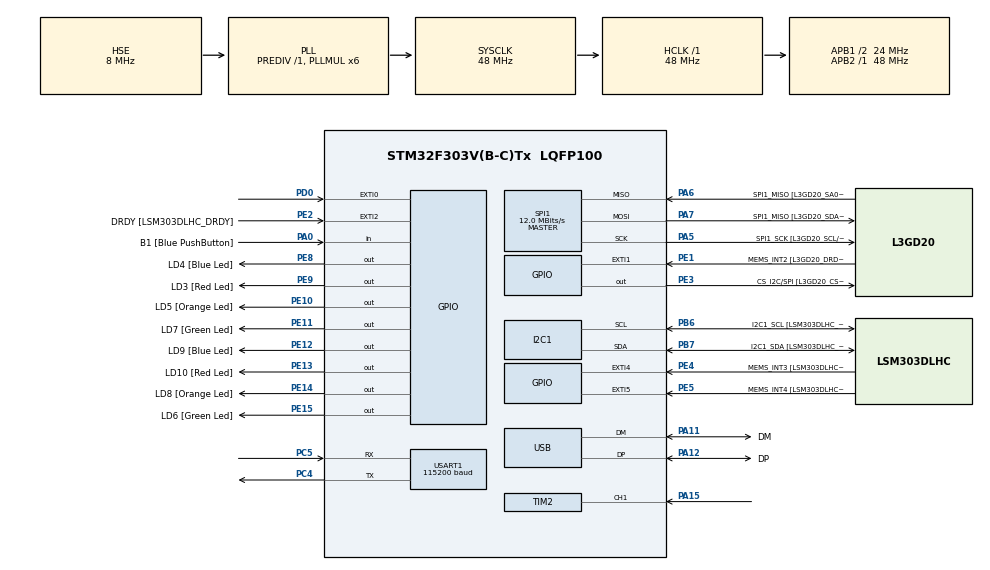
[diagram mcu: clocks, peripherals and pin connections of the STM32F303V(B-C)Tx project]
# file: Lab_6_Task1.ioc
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I2C1.Timing=0x00201D2B
I2C1.Timing-I2C=0x2000090E
Mcu.Family=STM32F3
Mcu.Name=STM32F303V(B-C)Tx
Mcu.Package=LQFP100
NVIC.PriorityGroup=NVIC_PRIORITYGROUP_0
NVIC.TIM2_IRQn=true\:0\:0\:false\:false\:true\:true\:true\:true
NVIC.USB_LP_CAN_RX0_IRQn=true\:0\:0\:false\:false\:true\:false\:true\:true
PA0.GPIO_Label=B1 [Blue PushButton]
PA0.Signal=GPIO_Input
PA11.GPIO_Label=DM
PA11.Mode=Device
PA11.Signal=USB_DM
PA12.GPIO_Label=DP
PA12.Mode=Device
PA12.Signal=USB_DP
PA13.GPIO_Label=SWDIO
PA13.Mode=Serial_Wire
PA13.Signal=SYS_JTMS-SWDIO
PA14.GPIO_Label=SWCLK
PA14.Mode=Serial_Wire
PA14.Signal=SYS_JTCK-SWCLK
PA15.Signal=S_TIM2_CH1_ETR
PA5.GPIO_Label=SPI1_SCK [L3GD20_SCL/SPC]
PA5.Mode=Full_Duplex_Master
PA5.Signal=SPI1_SCK
PA6.GPIO_Label=SPI1_MISO [L3GD20_SA0/SDO]
PA6.Mode=Full_Duplex_Master
PA6.Signal=SPI1_MISO
PA7.GPIO_Label=SPI1_MISO [L3GD20_SDA/SDI/SDO]
PA7.Mode=Full_Duplex_Master
PA7.Signal=SPI1_MOSI
PB3.GPIO_Label=SWO
PB3.Signal=SYS_JTDO-TRACESWO
PB6.GPIO_Label=I2C1_SCL [LSM303DLHC_SCL]
PB6.GPIO_Pu=GPIO_PULLUP
PB6.Mode=I2C
PB6.Signal=I2C1_SCL
PB7.GPIO_Label=I2C1_SDA [LSM303DLHC_SDA]
PB7.GPIO_Pu=GPIO_PULLUP
PB7.Mode=I2C
PB7.Signal=I2C1_SDA
PC14-OSC32_IN.GPIO_Label=OSC32_IN
PC14-OSC32_IN.Signal=RCC_OSC32_IN
PC15-OSC32_OUT.GPIO_Label=OSC32_OUT
PC15-OSC32_OUT.Signal=RCC_OSC32_OUT
PC4.Mode=Asynchronous
PC4.Signal=USART1_TX
PC5.Mode=Asynchronous
PC5.Signal=USART1_RX
PD0.Signal=GPXTI0
PE1.GPIO_Label=MEMS_INT2 [L3GD20_DRDY/INT2]
PE1.GPIO_ModeDefaultEXTI=GPIO_MODE_EVT_RISING
PE1.Signal=GPXTI1
PE10.GPIO_Label=LD5 [Orange Led]
PE10.Signal=GPIO_Output
PE11.GPIO_Label=LD7 [Green Led]
PE11.Signal=GPIO_Output
PE12.GPIO_Label=LD9 [Blue Led]
PE12.Signal=GPIO_Output
PE13.GPIO_Label=LD10 [Red Led]
PE13.Signal=GPIO_Output
PE14.GPIO_Label=LD8 [Orange Led]
PE14.Signal=GPIO_Output
PE15.GPIO_Label=LD6 [Green Led]
PE15.Signal=GPIO_Output
PE2.GPIO_Label=DRDY [LSM303DLHC_DRDY]
PE2.GPIO_ModeDefaultEXTI=GPIO_MODE_EVT_RISING
PE2.Signal=GPXTI2
PE3.GPIO_Label=CS_I2C/SPI [L3GD20_CS_I2C/SPI]
PE3.Signal=GPIO_Output
PE4.GPIO_Label=MEMS_INT3 [LSM303DLHC_INT1]
PE4.GPIO_ModeDefaultEXTI=GPIO_MODE_EVT_RISING
PE4.Signal=GPXTI4
PE5.GPIO_Label=MEMS_INT4 [LSM303DLHC_INT2]
PE5.GPIO_ModeDefaultEXTI=GPIO_MODE_EVT_RISING
PE5.Signal=GPXTI5
PE8.GPIO_Label=LD4 [Blue Led]
PE8.Signal=GPIO_Output
PE9.GPIO_Label=LD3 [Red Led]
PE9.Signal=GPIO_Output
PF0-OSC_IN.GPIO_Label=OSC_IN
PF0-OSC_IN.Mode=HSE-External-Clock-Source
PF0-OSC_IN.Signal=RCC_OSC_IN
PF1-OSC_OUT.GPIO_Label=OSC_OUT
PF1-OSC_OUT.Signal=RCC_OSC_OUT
ProjectManager.HeapSize=0x200
ProjectManager.StackSize=0x400
ProjectManager.TargetToolchain=CMake
RCC.AHBFreq_Value=48000000
RCC.APB1CLKDivider=RCC_HCLK_DIV2
RCC.APB1Freq_Value=24000000
RCC.APB1TimFreq_Value=48000000
RCC.APB2Freq_Value=48000000
RCC.APB2TimFreq_Value=48000000
RCC.CortexFreq_Value=48000000
RCC.HCLKFreq_Value=48000000
RCC.HSE_VALUE=8000000
RCC.HSI_VALUE=8000000
RCC.LSE_VALUE=32768
RCC.PLLMUL=RCC_PLL_MUL6
RCC.SYSCLKFreq_VALUE=48000000
RCC.SYSCLKSourceVirtual=RCC_SYSCLKSOURCE_PLLCLK
RCC.USBFreq_Value=48000000
SH.S_TIM2_CH1_ETR.0=TIM2_CH1,Input_Capture1_from_TI1
SPI1.BaudRatePrescaler=SPI_BAUDRATEPRESCALER_4
SPI1.BaudRatePrescaler-Full_Duplex_Master=SPI_BAUDRATEPRESCALER_2
SPI1.CalculateBaudRate=12.0 MBits/s
SPI1.CalculateBaudRate-Full_Duplex_Master=24.0 MBits/s
SPI1.Direction=SPI_DIRECTION_2LINES
SPI1.Mode=SPI_MODE_MASTER
SPI1.Mode-Full_Duplex_Master=SPI_MODE_MASTER
SPI1.VirtualType=VM_MASTER
TIM2.Channel-Input_Capture1_from_TI1=TIM_CHANNEL_1
TIM2.Prescaler=9
USART1.BaudRate=115200
USART1.VirtualMode-Asynchronous=VM_ASYNC
USB_DEVICE.CLASS_NAME_FS=CDC
USB_DEVICE.VirtualMode=Cdc
USB_DEVICE.VirtualModeFS=Cdc_FS
VP_TIM2_VS_ClockSourceINT.Mode=Internal
VP_USB_DEVICE_VS_USB_DEVICE_CDC_FS.Mode=CDC_FS
board=STM32F3DISCOVERY

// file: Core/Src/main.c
/* USER CODE BEGIN Header */
/**
  ******************************************************************************
  * @file           : main.c
  * @brief          : Main program body for Lab 6 Task 1 (GPIO EXTI)
  ******************************************************************************
  */
/* USER CODE END Header */
#include "main.h"
#include "usb_device.h"

/* USER CODE BEGIN Includes */
#include <stdio.h> // Required for sprintf
/* USER CODE END Includes */

I2C_HandleTypeDef hi2c1;
SPI_HandleTypeDef hspi1;
TIM_HandleTypeDef htim2;
UART_HandleTypeDef huart1;

/* USER CODE BEGIN PV */
// Variables for Lab 6 Task 1 (GPIO Polling/EXTI)
#define NUM_SAMPLES 10

uint32_t period_array[NUM_SAMPLES];
uint8_t sample_index = 0;
uint8_t is_first_edge = 1;

// 'volatile' tells the compiler this variable can change unexpectedly inside an interrupt
volatile uint8_t print_flag = 0;
/* USER CODE END PV */

void SystemClock_Config(void);
static void MX_GPIO_Init(void);
static void MX_I2C1_Init(void);
static void MX_SPI1_Init(void);
static void MX_TIM2_Init(void);
static void MX_USART1_UART_Init(void);

/* USER CODE BEGIN 0 */

// EXTI Callback for PD0
void HAL_GPIO_EXTI_Callback(uint16_t GPIO_Pin)
{
    // Check if the interrupt came from PD0
    if (GPIO_Pin == GPIO_PIN_0)
    {
        // Only collect new samples if we aren't currently busy printing the old ones
        if (print_flag == 0)
        {
            if (is_first_edge == 1)
            {
                // 1. First Interrupt (Rising Edge 1): Reset counter to 0 and start timer
                __HAL_TIM_SET_COUNTER(&htim2, 0);
                HAL_TIM_Base_Start(&htim2);

                is_first_edge = 0;
            }
            else
            {
                // 2. Second Interrupt (Rising Edge 2): Stop timer, read value, and save it
                HAL_TIM_Base_Stop(&htim2);
                period_array[sample_index] = __HAL_TIM_GET_COUNTER(&htim2);

                sample_index++;
                is_first_edge = 1; // Reset to catch the next 'first' edge

                // 3. Check if our array is full (e.g., we collected 10 samples)
                if (sample_index >= NUM_SAMPLES)
                {
                    print_flag = 1; // Tell the main loop to do the math and print
                    sample_index = 0;
                }
            }
        }
    }
}
/* USER CODE END 0 */

int main(void)
{
  /* MCU Configuration--------------------------------------------------------*/
  /* Reset of all peripherals, Initializes the Flash interface and the Systick. */
  HAL_Init();

  /* Configure the system clock */
  SystemClock_Config();

  /* Initialize all configured peripherals */
  MX_GPIO_Init();
  MX_I2C1_Init();
  MX_SPI1_Init();
  MX_TIM2_Init();
  MX_USART1_UART_Init();

  /* USER CODE BEGIN 2 */

  char msg[100];

  /* USER CODE END 2 */

  /* Infinite loop */
  while (1)
  {
    /* USER CODE BEGIN 3 */

    // Check if the EXTI interrupt collected all 10 samples
    if (print_flag == 1)
    {
        // 1. Calculate the Average Period
        uint32_t sum = 0;
        for (int i = 0; i < NUM_SAMPLES; i++)
        {
            sum += period_array[i];
        }
        uint32_t average_period = sum / NUM_SAMPLES;

        // 2. Calculate the Frequency
        // Since our prescaler is 71, the timer ticks at 1 MHz (1,000,000 Hz).
        // Frequency = Timer Ticks per Second / Average Period Ticks
        uint32_t frequency = 0;
        if (average_period > 0)
        {
            frequency = 1000000 / average_period;
        }

        // 3. Print the results
        int len = sprintf(msg, "Avg Period: %lu us | Freq: %lu Hz\r\n", average_period, frequency);
        HAL_UART_Transmit(&huart1, (uint8_t*)msg, len, HAL_MAX_DELAY);

        // 4. Reset the flag so the EXTI interrupt can fill the array again
        print_flag = 0;
    }

    // Check every 100ms as requested by the manual
    HAL_Delay(100);

    /* USER CODE END 3 */
  }
}

void SystemClock_Config(void)
{
  RCC_OscInitTypeDef RCC_OscInitStruct = {0};
  RCC_ClkInitTypeDef RCC_ClkInitStruct = {0};
  RCC_PeriphCLKInitTypeDef PeriphClkInit = {0};

  RCC_OscInitStruct.OscillatorType = RCC_OSCILLATORTYPE_HSI|RCC_OSCILLATORTYPE_HSE;
  RCC_OscInitStruct.HSEState = RCC_HSE_BYPASS;
  RCC_OscInitStruct.HSEPredivValue = RCC_HSE_PREDIV_DIV1;
  RCC_OscInitStruct.HSIState = RCC_HSI_ON;
  RCC_OscInitStruct.HSICalibrationValue = RCC_HSICALIBRATION_DEFAULT;
  RCC_OscInitStruct.PLL.PLLState = RCC_PLL_ON;
  RCC_OscInitStruct.PLL.PLLSource = RCC_PLLSOURCE_HSE;
  RCC_OscInitStruct.PLL.PLLMUL = RCC_PLL_MUL6;
  if (HAL_RCC_OscConfig(&RCC_OscInitStruct) != HAL_OK)
  {
    Error_Handler();
  }

  RCC_ClkInitStruct.ClockType = RCC_CLOCKTYPE_HCLK|RCC_CLOCKTYPE_SYSCLK
                              |RCC_CLOCKTYPE_PCLK1|RCC_CLOCKTYPE_PCLK2;
  RCC_ClkInitStruct.SYSCLKSource = RCC_SYSCLKSOURCE_PLLCLK;
  RCC_ClkInitStruct.AHBCLKDivider = RCC_SYSCLK_DIV1;
  RCC_ClkInitStruct.APB1CLKDivider = RCC_HCLK_DIV2;
  RCC_ClkInitStruct.APB2CLKDivider = RCC_HCLK_DIV1;

  if (HAL_RCC_ClockConfig(&RCC_ClkInitStruct, FLASH_LATENCY_1) != HAL_OK)
  {
    Error_Handler();
  }
  PeriphClkInit.PeriphClockSelection = RCC_PERIPHCLK_USB|RCC_PERIPHCLK_USART1
                              |RCC_PERIPHCLK_I2C1;
  PeriphClkInit.Usart1ClockSelection = RCC_USART1CLKSOURCE_PCLK2;
  PeriphClkInit.I2c1ClockSelection = RCC_I2C1CLKSOURCE_HSI;
  PeriphClkInit.USBClockSelection = RCC_USBCLKSOURCE_PLL;
  if (HAL_RCCEx_PeriphCLKConfig(&PeriphClkInit) != HAL_OK)
  {
    Error_Handler();
  }
}

static void MX_I2C1_Init(void)
{
  hi2c1.Instance = I2C1;
  hi2c1.Init.Timing = 0x00201D2B;
  hi2c1.Init.OwnAddress1 = 0;
  hi2c1.Init.AddressingMode = I2C_ADDRESSINGMODE_7BIT;
  hi2c1.Init.DualAddressMode = I2C_DUALADDRESS_DISABLE;
  hi2c1.Init.OwnAddress2 = 0;
  hi2c1.Init.OwnAddress2Masks = I2C_OA2_NOMASK;
  hi2c1.Init.GeneralCallMode = I2C_GENERALCALL_DISABLE;
  hi2c1.Init.NoStretchMode = I2C_NOSTRETCH_DISABLE;
  if (HAL_I2C_Init(&hi2c1) != HAL_OK)
  {
    Error_Handler();
  }
  if (HAL_I2CEx_ConfigAnalogFilter(&hi2c1, I2C_ANALOGFILTER_ENABLE) != HAL_OK)
  {
    Error_Handler();
  }
  if (HAL_I2CEx_ConfigDigitalFilter(&hi2c1, 0) != HAL_OK)
  {
    Error_Handler();
  }
}

static void MX_SPI1_Init(void)
{
  hspi1.Instance = SPI1;
  hspi1.Init.Mode = SPI_MODE_MASTER;
  hspi1.Init.Direction = SPI_DIRECTION_2LINES;
  hspi1.Init.DataSize = SPI_DATASIZE_4BIT;
  hspi1.Init.CLKPolarity = SPI_POLARITY_LOW;
  hspi1.Init.CLKPhase = SPI_PHASE_1EDGE;
  hspi1.Init.NSS = SPI_NSS_SOFT;
  hspi1.Init.BaudRatePrescaler = SPI_BAUDRATEPRESCALER_4;
  hspi1.Init.FirstBit = SPI_FIRSTBIT_MSB;
  hspi1.Init.TIMode = SPI_TIMODE_DISABLE;
  hspi1.Init.CRCCalculation = SPI_CRCCALCULATION_DISABLE;
  hspi1.Init.CRCPolynomial = 7;
  hspi1.Init.CRCLength = SPI_CRC_LENGTH_DATASIZE;
  hspi1.Init.NSSPMode = SPI_NSS_PULSE_ENABLE;
  if (HAL_SPI_Init(&hspi1) != HAL_OK)
  {
    Error_Handler();
  }
}

static void MX_TIM2_Init(void)
{
  TIM_ClockConfigTypeDef sClockSourceConfig = {0};
  TIM_MasterConfigTypeDef sMasterConfig = {0};

  htim2.Instance = TIM2;
  htim2.Init.Prescaler = 71;  // Set to 71 for 1 microsecond ticks
  htim2.Init.CounterMode = TIM_COUNTERMODE_UP;
  htim2.Init.Period = 4294967295; // 32-bit max value
  htim2.Init.ClockDivision = TIM_CLOCKDIVISION_DIV1;
  htim2.Init.AutoReloadPreload = TIM_AUTORELOAD_PRELOAD_DISABLE;
  if (HAL_TIM_Base_Init(&htim2) != HAL_OK)
  {
    Error_Handler();
  }
  sClockSourceConfig.ClockSource = TIM_CLOCKSOURCE_INTERNAL;
  if (HAL_TIM_ConfigClockSource(&htim2, &sClockSourceConfig) != HAL_OK)
  {
    Error_Handler();
  }
  sMasterConfig.MasterOutputTrigger = TIM_TRGO_RESET;
  sMasterConfig.MasterSlaveMode = TIM_MASTERSLAVEMODE_DISABLE;
  if (HAL_TIMEx_MasterConfigSynchronization(&htim2, &sMasterConfig) != HAL_OK)
  {
    Error_Handler();
  }
}

static void MX_USART1_UART_Init(void)
{
  huart1.Instance = USART1;
  huart1.Init.BaudRate = 115200;
  huart1.Init.WordLength = UART_WORDLENGTH_8B;
  huart1.Init.StopBits = UART_STOPBITS_1;
  huart1.Init.Parity = UART_PARITY_NONE;
  huart1.Init.Mode = UART_MODE_TX_RX;
  huart1.Init.HwFlowCtl = UART_HWCONTROL_NONE;
  huart1.Init.OverSampling = UART_OVERSAMPLING_16;
  huart1.Init.OneBitSampling = UART_ONE_BIT_SAMPLE_DISABLE;
  huart1.AdvancedInit.AdvFeatureInit = UART_ADVFEATURE_NO_INIT;
  if (HAL_UART_Init(&huart1) != HAL_OK)
  {
    Error_Handler();
  }
}

static void MX_GPIO_Init(void)
{
  GPIO_InitTypeDef GPIO_InitStruct = {0};

  /* GPIO Ports Clock Enable */
  __HAL_RCC_GPIOE_CLK_ENABLE();
  __HAL_RCC_GPIOC_CLK_ENABLE();
  __HAL_RCC_GPIOF_CLK_ENABLE();
  __HAL_RCC_GPIOA_CLK_ENABLE();
  __HAL_RCC_GPIOD_CLK_ENABLE();
  __HAL_RCC_GPIOB_CLK_ENABLE();

  /*Configure GPIO pin Output Level */
  HAL_GPIO_WritePin(GPIOE, CS_I2C_SPI_Pin|LD4_Pin|LD3_Pin|LD5_Pin
                          |LD7_Pin|LD9_Pin|LD10_Pin|LD8_Pin
                          |LD6_Pin, GPIO_PIN_RESET);

  /*Configure GPIO pins : DRDY_Pin MEMS_INT3_Pin MEMS_INT4_Pin MEMS_INT2_Pin */
  GPIO_InitStruct.Pin = DRDY_Pin|MEMS_INT3_Pin|MEMS_INT4_Pin|MEMS_INT2_Pin;
  GPIO_InitStruct.Mode = GPIO_MODE_EVT_RISING;
  GPIO_InitStruct.Pull = GPIO_NOPULL;
  HAL_GPIO_Init(GPIOE, &GPIO_InitStruct);

  /*Configure GPIO pins : CS_I2C_SPI_Pin LD4_Pin LD3_Pin LD5_Pin
                           LD7_Pin LD9_Pin LD10_Pin LD8_Pin
                           LD6_Pin */
  GPIO_InitStruct.Pin = CS_I2C_SPI_Pin|LD4_Pin|LD3_Pin|LD5_Pin
                          |LD7_Pin|LD9_Pin|LD10_Pin|LD8_Pin
                          |LD6_Pin;
  GPIO_InitStruct.Mode = GPIO_MODE_OUTPUT_PP;
  GPIO_InitStruct.Pull = GPIO_NOPULL;
  GPIO_InitStruct.Speed = GPIO_SPEED_FREQ_LOW;
  HAL_GPIO_Init(GPIOE, &GPIO_InitStruct);

  /*Configure GPIO pin : B1_Pin */
  GPIO_InitStruct.Pin = B1_Pin;
  GPIO_InitStruct.Mode = GPIO_MODE_INPUT;
  GPIO_InitStruct.Pull = GPIO_NOPULL;
  HAL_GPIO_Init(B1_GPIO_Port, &GPIO_InitStruct);

  /*Configure GPIO pin : PD0 (Used for Task 1 EXTI Frequency Measurement) */
  GPIO_InitStruct.Pin = GPIO_PIN_0;
  GPIO_InitStruct.Mode = GPIO_MODE_IT_RISING;
  GPIO_InitStruct.Pull = GPIO_NOPULL;
  HAL_GPIO_Init(GPIOD, &GPIO_InitStruct);
}

void Error_Handler(void)
{
  __disable_irq();
  while (1)
  {
  }
}
